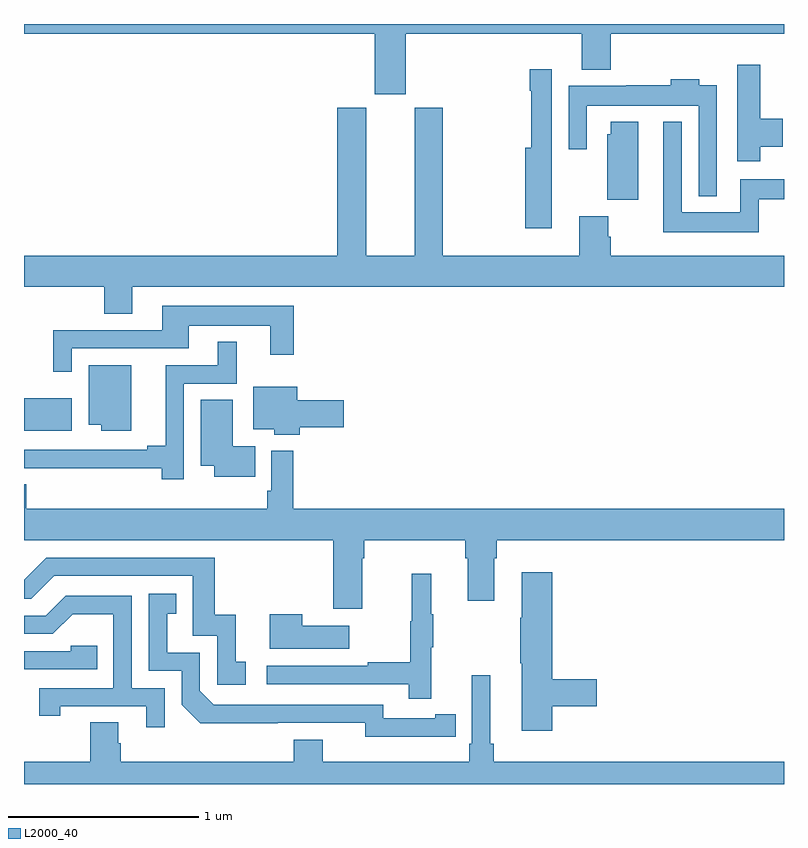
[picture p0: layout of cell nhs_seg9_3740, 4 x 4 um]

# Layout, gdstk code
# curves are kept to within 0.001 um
import gdstk
lib = gdstk.Library(unit=1e-6, precision=1e-09)
def R(c, l, rs):  # rectangles x0, y0, x1, y1
    for r in rs: c.add(gdstk.rectangle(r[:2], r[2:], *l))
def P(c, l, *ps):  # polygons
    for p in ps: c.add(gdstk.Polygon(p, *l))
L2000_40 = (2000, 40)

nhs_seg9_3740 = lib.new_cell('nhs_seg9_3740')
R(nhs_seg9_3740, L2000_40, [(325,1166.36,325.252,1166.53)])
P(nhs_seg9_3740, L2000_40, [(327.01,1168.448),(327.935,1168.448),(327.935,1168.259),(328.088,1168.259),(328.088,1168.448),(329,1168.448),(329,1168.5),(325,1168.5),(325,1168.448),(326.846,1168.448),(326.846,1168.131),(327.01,1168.131)],
  [(328.876,1167.854),(328.993,1167.854),(328.993,1168.002),(328.876,1168.002),(328.876,1168.285),(328.754,1168.285),(328.754,1167.777),(328.876,1167.777)],
  [(327.778,1167.746),(327.777,1167.746),(327.777,1168.261),(327.661,1168.261),(327.661,1168.148),(327.669,1168.148),(327.669,1167.85),(327.637,1167.85),(327.637,1167.426),(327.778,1167.426)],
  [(328.647,1168.177),(328.555,1168.177),(328.555,1168.21),(328.403,1168.21),(328.403,1168.177),(328.171,1168.177),(328.171,1168.174),(327.867,1168.174),(327.867,1167.84),(327.963,1167.84),(327.963,1168.07),(328.551,1168.07),(328.551,1167.593),(328.647,1167.593)],
  [(325.57,1167.116),(329,1167.116),(329,1167.28),(328.088,1167.28),(328.088,1167.38),(328.075,1167.38),(328.075,1167.489),(327.923,1167.489),(327.923,1167.28),(327.204,1167.28),(327.204,1168.059),(327.056,1168.059),(327.056,1167.28),(326.8,1167.28),(326.8,1168.059),(326.648,1168.059),(326.648,1167.28),(325,1167.28),(325,1167.116),(325.423,1167.116),(325.423,1166.974),(325.57,1166.974)],
  [(328.234,1167.985),(328.088,1167.985),(328.088,1167.921),(328.07,1167.921),(328.07,1167.574),(328.234,1167.574)],
  [(328.868,1167.578),(329,1167.578),(329,1167.682),(328.77,1167.682),(328.77,1167.508),(328.461,1167.508),(328.461,1167.985),(328.364,1167.985),(328.364,1167.404),(328.868,1167.404)],
  [(325.251,1166.793),(325.867,1166.793),(325.867,1166.912),(326.297,1166.912),(326.297,1166.76),(326.419,1166.76),(326.419,1167.016),(325.727,1167.016),(325.727,1166.889),(325.154,1166.889),(325.154,1166.67),(325.251,1166.67)],
  [(325.842,1166.607),(326.119,1166.607),(326.119,1166.827),(326.021,1166.827),(326.021,1166.703),(325.745,1166.703),(325.745,1166.279),(325.649,1166.279),(325.649,1166.259),(325,1166.259),(325,1166.163),(325.096,1166.163),(325.096,1166.162),(325.726,1166.162),(325.726,1166.103),(325.842,1166.103)],
  [(325.564,1166.704),(325.34,1166.704),(325.34,1166.39),(325.406,1166.39),(325.406,1166.36),(325.564,1166.36)],
  [(326.45,1166.377),(326.683,1166.377),(326.683,1166.519),(326.437,1166.519),(326.437,1166.59),(326.207,1166.59),(326.207,1166.366),(326.316,1166.366),(326.316,1166.339),(326.45,1166.339)],
  [(326.216,1166.278),(326.098,1166.278),(326.098,1166.522),(325.931,1166.522),(325.931,1166.174),(326,1166.174),(326,1166.117),(326.216,1166.117)],
  [(326.779,1165.688),(326.792,1165.688),(326.792,1165.784),(327.323,1165.784),(327.323,1165.688),(327.335,1165.688),(327.335,1165.464),(327.475,1165.464),(327.475,1165.688),(327.488,1165.688),(327.488,1165.784),(329,1165.784),(329,1165.948),(326.417,1165.948),(326.417,1166.254),(326.301,1166.254),(326.301,1166.044),(326.281,1166.044),(326.281,1165.948),(325.013,1165.948),(325.013,1166.078),(325,1166.078),(325,1165.784),(326.627,1165.784),(326.627,1165.422),(326.779,1165.422)],
  [(326.167,1165.143),(326.114,1165.143),(326.114,1165.39),(326.003,1165.39),(326.003,1165.692),(325.116,1165.692),(325,1165.576),(325,1165.476),(325.038,1165.476),(325.158,1165.596),(325.887,1165.596),(325.887,1165.281),(326.016,1165.281),(326.016,1165.023),(326.167,1165.023)],
  [(327.779,1164.91),(328.015,1164.91),(328.015,1165.052),(327.779,1165.052),(327.779,1165.615),(327.62,1165.615),(327.62,1165.376),(327.613,1165.376),(327.613,1165.135),(327.62,1165.135),(327.62,1164.78),(327.779,1164.78)],
  [(327.143,1165.219),(327.154,1165.219),(327.154,1165.393),(327.143,1165.393),(327.143,1165.606),(327.04,1165.606),(327.04,1165.356),(327.033,1165.356),(327.033,1165.142),(326.809,1165.142),(326.809,1165.122),(326.277,1165.122),(326.277,1165.026),(327.025,1165.026),(327.025,1164.948),(327.143,1164.948)],
  [(327.164,1164.75),(327.272,1164.75),(327.272,1164.866),(327.164,1164.866),(327.164,1164.846),(326.892,1164.846),(326.892,1164.918),(325.998,1164.918),(325.926,1164.99),(325.926,1165.191),(325.753,1165.191),(325.753,1165.395),(325.802,1165.395),(325.802,1165.501),(325.656,1165.501),(325.656,1165.095),(325.83,1165.095),(325.83,1164.918),(325.928,1164.821),(326.796,1164.822),(326.796,1164.749)],
  [(325.74,1165.005),(325.566,1165.005),(325.566,1165.491),(325.22,1165.491),(325.115,1165.386),(325,1165.386),(325,1165.29),(325.152,1165.29),(325.256,1165.394),(325.47,1165.394),(325.47,1165.005),(325.081,1165.005),(325.081,1164.858),(325.192,1164.858),(325.192,1164.909),(325.643,1164.909),(325.643,1164.798),(325.74,1164.798)],
  [(326.713,1165.333),(326.465,1165.333),(326.465,1165.393),(326.294,1165.393),(326.294,1165.211),(326.713,1165.211)],
  [(325.385,1165.227),(325.245,1165.227),(325.245,1165.2),(325,1165.2),(325,1165.104),(325.385,1165.104)],
  [(329,1164.616),(327.473,1164.616),(327.473,1164.712),(327.454,1164.712),(327.454,1165.072),(327.357,1165.072),(327.357,1164.712),(327.344,1164.712),(327.344,1164.616),(326.572,1164.616),(326.572,1164.733),(326.42,1164.733),(326.42,1164.616),(325.508,1164.616),(325.508,1164.714),(325.495,1164.714),(325.495,1164.824),(325.348,1164.824),(325.348,1164.616),(325,1164.616),(325,1164.5),(329,1164.5)])

lib.write_gds('nhs_seg9_3740.gds')
